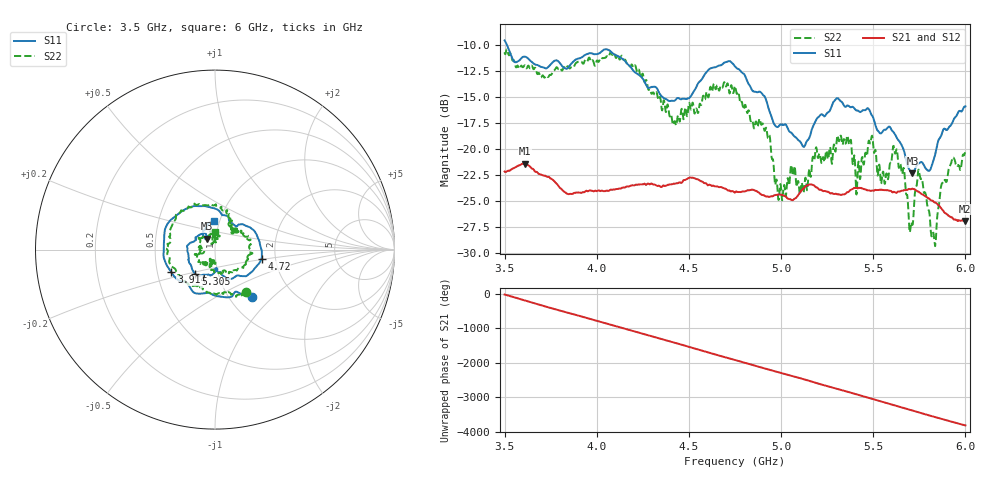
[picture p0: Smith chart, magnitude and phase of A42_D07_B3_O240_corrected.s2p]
! Created with skrf 1.9.0 (http://scikit-rf.org).
# Hz S RI R 50.0
!freq ReS11 ImS11 ReS21 ImS21 ReS12 ImS12 ReS22 ImS22
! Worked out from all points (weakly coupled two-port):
!   1601 points, 3.5 GHz to 6 GHz, reference 50 ohm
!   highest |S21| = -21.39 dB at 3.609 GHz (marker M1); lowest = -26.9 dB at 5.995 GHz (marker M2)
!   lowest |S11| = -22.3 dB at 5.713 GHz (marker M3), VSWR 1.17, Z = 45.3 + j5.55 ohm
!   |S11| at or under -10 dB: 3.512 GHz to end of sweep
!   |S22| runs from -29.3 to -10.4 dB; largest |S21 - S12| = 0.00092
!   S11 on the Smith chart (normalised r, x): 3.5 GHz: 1.27, -0.75; 3.914 GHz: 0.59, -0.16; 4.72 GHz: 1.69, -0.18; 5.305 GHz: 0.78, -0.22; 6 GHz: 0.94, +0.31
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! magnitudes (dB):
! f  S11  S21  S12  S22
! 3.5 GHz  -9.6  -22.2  -22.1  -10.7
! 3.609 GHz  -11.1  -21.4  -21.4  -12.0
! 3.914 GHz  -11.2  -24.2  -24.2  -11.6
! 3.917 GHz  -11.2  -24.2  -24.2  -11.6
! 4.334 GHz  -14.4  -23.5  -23.5  -15.3
! 4.422 GHz  -15.3  -23.3  -23.3  -17.3
! 4.72 GHz  -11.6  -24.0  -24.0  -14.7
! 4.75 GHz  -12.1  -24.2  -24.1  -14.0
! 4.928 GHz  -15.8  -24.6  -24.5  -18.9
! 4.995 GHz  -17.6  -24.4  -24.3  -23.4
! 5.167 GHz  -18.1  -23.4  -23.4  -21.5
! 5.305 GHz  -15.1  -24.3  -24.3  -18.7
! 5.417 GHz  -16.3  -23.8  -23.8  -21.5
! 5.486 GHz  -16.5  -24.0  -24.0  -19.4
! 5.584 GHz  -17.8  -24.0  -23.9  -22.4
! 5.62 GHz  -18.6  -24.2  -24.2  -20.4
! 5.713 GHz  -22.3  -23.8  -23.8  -27.3
! 5.753 GHz  -21.3  -24.2  -24.1  -22.6
! 5.83 GHz  -20.9  -25.1  -25.0  -28.4
! 5.877 GHz  -18.3  -25.9  -25.8  -23.2
! 5.995 GHz  -15.9  -26.9  -26.8  -20.5
! 6 GHz  -15.9  -26.9  -26.8  -20.0
